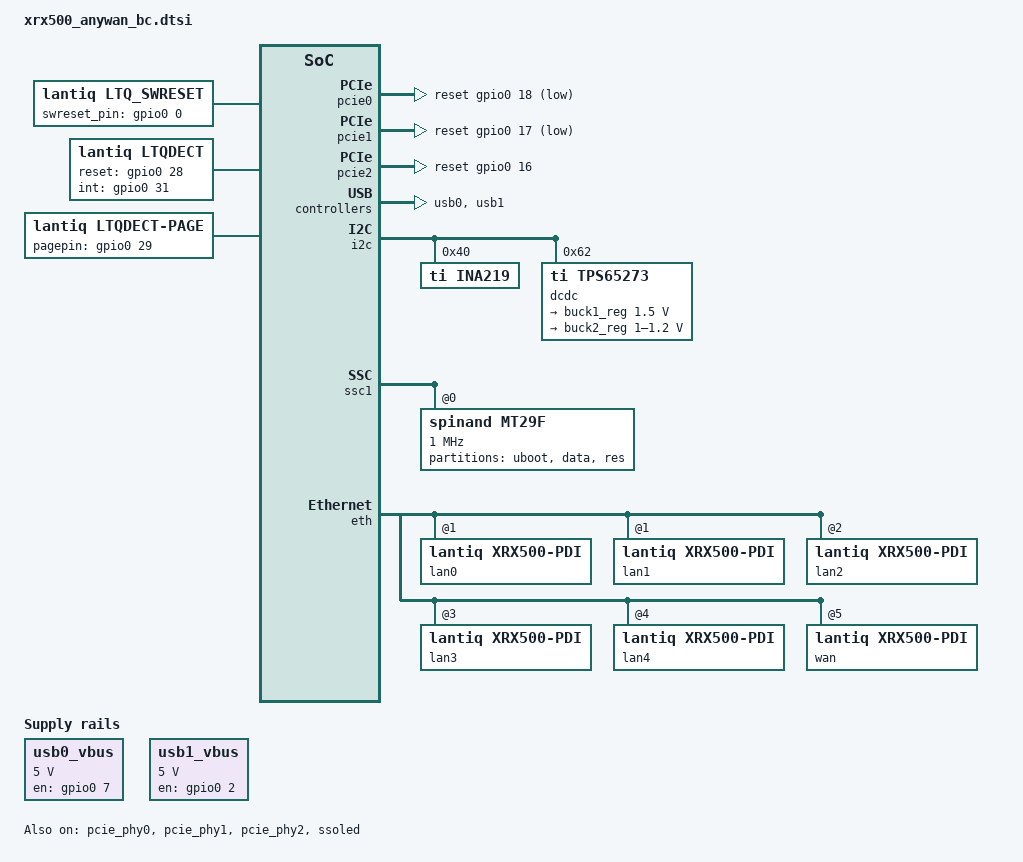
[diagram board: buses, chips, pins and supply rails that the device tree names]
#include <dt-bindings/gpio/gpio.h>
/******************************************************************************
** Board configuration: xRX500 ANYWAN Board
******************************************************************************/
/ {

/******************************************************************************
** Board configuration: Enable buttons on the board.  
******************************************************************************/
	ltq_swreset {
	      compatible = "lantiq,ltq_swreset";
	      swreset_pin = <&gpio0 0 0>;
	      swreset_bit = <1>;
	      status = "ok";
	};
/*****************************************************************************/
};

/******************************************************************************
** Board configuration: Enable dect SS.
******************************************************************************/
/ {
dect {
	compatible = "lantiq,ltqdect";
	lantiq,dect-cs= <0>; /*DECT chip select port Number; This is used by SSC interface*/
	gpio-reset = <&gpio0 28 0>;
	gpio-int = <&gpio0 31 0>; /*COSIC INT PIN connected to GPIO 31 */
	status = "ok";
	};

dect-page {
	compatible = "lantiq,ltqdect-page";
	lantiq,pagebit= <1>; /*DECT Page Bit: Bit info meant for DECT*/
	lantiq,pagepin= <&gpio0 29 0>; 
	status = "okay";
	};
};

/******************************************************************************
** Board configuration: Enable spi0 configuration.
******************************************************************************/

/******************************************************************************
** PCIe PHY board configuration
******************************************************************************/
&pcie_phy0 {
	status = "ok";
	intel,ssc_enable = <1>;
};

&pcie_phy1 {
	status = "ok";
	intel,ssc_enable = <1>;
};

&pcie_phy2 {
	status = "ok";
	intel,ssc_enable = <1>;
};

/******************************************************************************
** Board configuration: Enable PCIe board configuration.
** PCIE sub-system feature configuration, the pcie0/1/2 are defined in Soc level  
******************************************************************************/
&pcie0 {
	status = "okay";
	intel,rst-interval = <100>;
	intel,inbound-swap = <1>;
	intel,outbound-swap = <0>;
	reset-gpios = <&gpio0 18 GPIO_ACTIVE_LOW>;
};

&pcie1 {
	status = "okay";
	intel,rst-interval = <100>;
	intel,inbound-swap = <1>;
	intel,outbound-swap = <0>;
	reset-gpios = <&gpio0 17 GPIO_ACTIVE_LOW>;
};

&pcie2 {
	status = "okay";
	intel,rst-interval = <100>;
	intel,inbound-swap = <1>;
	intel,outbound-swap = <0>;
	reset-gpios = <&gpio0 16 GPIO_ACTIVE_HIGH>; /* High active reset */
};

/******************************************************************************
** Board configuration: Enable USB board configuration.  
******************************************************************************/
/ {
	usb0_vbus:regulator-vbus@0 {
		compatible = "regulator-fixed";
		regulator-name = "usb0_vbus";
		regulator-min-microvolt = <5000000>;
		regulator-max-microvolt = <5000000>;
		gpio = <&gpio0 7 0>;
		enable-active-high;
	};

	usb1_vbus:regulator-vbus@1 {
		compatible = "regulator-fixed";
		regulator-name = "usb1_vbus";
		regulator-min-microvolt = <5000000>;
		regulator-max-microvolt = <5000000>;
		gpio = <&gpio0 2 0>;
		enable-active-high;
	};
};

&usb0_phy {
	vbus-supply = <&usb0_vbus>;
};

&usb0 {
	status = "ok";
};

&usb1_phy {
        vbus-supply = <&usb1_vbus>;
};

&usb1 {
	status = "ok";
};

/******************************************************************************
 ** Board configuration: Enable pinctrl board configuration.
 ******************************************************************************/
&pinctrl {
	pinctrl_spi0_cs1: spi0_cs1 {
		intel,pins =  <15>; /* SPI0_CS1 */
		intel,function = "spi0_cs1";
		intel,mux = <EQBR_MUX_1>;
		intel,groups = "spi0_cs1";
	};

	pinctrl_spi1_cs0: spi1_cs0 {
		intel,pins =  <14>; /* SPI1_CS0 */
		intel,function = "spi1_cs0";
		intel,mux = <EQBR_MUX_2>;
		intel,groups = "spi1_cs0";
	};
};

/******************************************************************************
** Board configuration: Enable Shift register LED board configuration.  
******************************************************************************/

&ssogpio {
	status = "okay";
	intel,sso-update-rate = <250000>;
};

&ssoled {
	status = "okay";
	/* led definition */

	intel,sso-def-brightness = <0x80>;
	intel,sso-def-blinkrate = <4>; /* HZ*/
	/* blink rate list: 2, 4, 8, 10, 50K, 100K, 200K, 250K, 1000K */ 
	led0: led0 {
		label = "led0:green:gphy";
		led-gpio = <&ssogpio 0 0>;
		intel,led-pin = <0>;
		intel,sso-hw-trigger;
	};

	led1: led1 {
		label = "led1:green:gphy";
		led-gpio = <&ssogpio 1 0>;
		intel,led-pin = <1>;
		intel,sso-hw-trigger;
	};

	led2: led2 {
		label = "led2:green:gphy";
		led-gpio = <&ssogpio 2 0>;
		intel,led-pin = <2>;
		intel,sso-hw-trigger;
	};

	led3: led3 {
		label = "led3:green:gphy";
		led-gpio = <&ssogpio 3 0>;
		intel,led-pin = <3>;
		intel,sso-hw-trigger;
	};

	led4: led4 {
		label = "led4:green:gphy";
		led-gpio = <&ssogpio 4 0>;
		intel,led-pin = <4>;
		intel,sso-hw-trigger;
	};

	led5: led5 {
		label = "led5:green:dect";
		led-gpio = <&ssogpio 5 0>;
		intel,led-pin = <5>;
		intel,sso-brightness = <0x00>;
	};

	led6: led6 {
		label = "led6:green:wifi5g";
		led-gpio = <&ssogpio 6 0>;
		intel,led-pin = <6>;
		intel,sso-brightness = <0x00>;
	};

	led7: led7 {
		label = "led7:green:voip";
		led-gpio = <&ssogpio 7 0>;
		intel,led-pin = <7>;
		intel,sso-brightness = <0x00>;
	};

	led8: led8 {
		label = "led8:green:Broadband0";
		led-gpio = <&ssogpio 8 0>;
		intel,led-pin = <8>;
		intel,sso-brightness = <0x00>;
	};

	led9: led9 {
		label = "led9:green:lte";
		led-gpio = <&ssogpio 9 0>;
		intel,led-pin = <9>;
		intel,sso-brightness = <0x00>;
	};

	led10: led10 {
		label = "led10:green:wifi2g";
		led-gpio = <&ssogpio 10 0>;
		intel,led-pin = <10>;
		intel,sso-brightness = <0x00>;
	};

	led11: led11 {
		label = "led11:green:Internet";
		led-gpio = <&ssogpio 11 0>;
		intel,led-pin = <11>;
		intel,sso-brightness = <0x00>;
	};

	led12: led12 {
		label = "led12:green:Broadband1";
		led-gpio = <&ssogpio 12 0>;
		intel,led-pin = <12>;
		intel,sso-brightness = <0x00>;
	};

	led13: led13 {
		label = "board:red:power";
		led-gpio = <&ssogpio 13 0>;
		intel,led-pin = <13>;
		intel,sso-brightness = <0x00>;
	};

	led14: led14 {
		label = "board:blue:power";
		led-gpio = <&ssogpio 14 0>;
		intel,led-pin = <14>;
		intel,sso-brightness = <0x00>;
	};

	led15: led15 {
		label = "board:green:power";
		led-gpio = <&ssogpio 15 0>;
		intel,led-pin = <15>;
		linux,default-trigger = "timer";
		intel,sso-brightness = <255>;
	};
};

/******************************************************************************
** Board configuration: Enable CoC power managment board feature  
******************************************************************************/
&pinctrl_i2c0 {
			status="ok";
};

&cpu0 {
	cpu-supply = <&buck2_reg>;
};

&i2c {
	status = "ok";
	ina219: ina219@40 {
		compatible = "ti,ina219";
		reg = <0x40>;
		shunt-resistor = <10000>;
		config = <0x01FF>;
		calibration = <0x0EE5>;
		rail-name = "PWR_12V";
		};

	dcdc:tps65273@62 {
		status = "ok";
		compatible = "ti,tps65273";
		reg = <0x62>;

		regulators {
			buck1_reg: BUCK1 {
				regulator-name = "1V5VDD";
				regulator-always-on;
				regulator-boot-on;
				regulator-min-microvolt = <1500000>;
				regulator-max-microvolt = <1500000>;
				regulator-microvolt-offset = <0>;
				vout-slew-rate = <0>;
				vout-psm-mode  = <0>;
				vout-init-selector = <47>; /*0x2F - 1150000 uV*/
			};

			buck2_reg: BUCK2 {
				regulator-name = "1V15VDD";
				regulator-always-on;
				regulator-boot-on;
				regulator-min-microvolt = <1000000>;
				regulator-max-microvolt = <1200000>;
				regulator-microvolt-offset = <0>;
				vout-slew-rate = <0>; 
				vout-psm-mode  = <0>;
				vout-init-selector = <47>; /*0x2F - 1150000 uV*/
			};
		};
	};
};

/******************************************************************************
** Board configuration: Enable SSC1 to support standard SPI devices (SPI Flash)  
******************************************************************************/
&ssc1 {
		status="ok";
		mt29f@0 {
				#address-cells = <1>;
				#size-cells = <1>;
				reg = <0 1>;
				compatible = "spinand,mt29f";
				linux,modalias = "mt29f";
				spi-max-frequency = <1000000>;

				partition@0 {
					label = "uboot";
					reg = <0x000000 0x100000>;
				};

				partition@100000 {
					label = "data";
					reg = <0x100000 0x1000000>;
				};	
				
				partition@1100000 {
					label = "res";
					reg = <0x1100000 0x6E00000>;
				};
			};
};

/******************************************************************************
** Board configuration: Configure LAN/WAN interfaces  
******************************************************************************/
&eth {
	status = "ok";

	lan0: interface@0 {
		compatible = "lantiq,xrx500-pdi";
		#address-cells = <1>;
		#size-cells = <0>;
		reg = <1>;
		intel,dp-dev-port = <1>;
		intel,dp-port-id = <1>;

		ethernet@1 {
			compatible = "lantiq,xrx500-pdi-port";
			reg = <1>;
			phy-mode = "rgmii";
		};
	};

	lan1: interface@1 {
		compatible = "lantiq,xrx500-pdi";
		#address-cells = <1>;
		#size-cells = <0>;
		reg = <1>;
		intel,dp-dev-port = <2>;
		intel,dp-port-id = <2>;

		ethernet@1 {
			compatible = "lantiq,xrx500-pdi-port";
			reg = <2>;
			interrupt-parent = <&gic>;
			interrupts = <0 112 4>;
			phy-mode = "rgmii";
			phy-handle = <&phy2>;
		};
	};

	lan2: interface@2 {
		compatible = "lantiq,xrx500-pdi";
		#address-cells = <1>;
		#size-cells = <0>;
		reg = <2>;
		intel,dp-dev-port = <3>;
		intel,dp-port-id = <3>;

		ethernet@2 {
			compatible = "lantiq,xrx500-pdi-port";
			reg = <3>;
			interrupt-parent = <&gic>;
			interrupts = <0 113 4>;
			phy-mode = "rgmii";
			phy-handle = <&phy3>;
		};
	};

	lan3: interface@3 {
		compatible = "lantiq,xrx500-pdi";
		#address-cells = <1>;
		#size-cells = <0>;
		reg = <3>;
		intel,dp-dev-port = <4>;
		intel,dp-port-id = <4>;

		ethernet@3 {
			compatible = "lantiq,xrx500-pdi-port";
			reg = <4>;
			interrupt-parent = <&gic>;
			interrupts = <0 126 4>;
			phy-mode = "rgmii";
			phy-handle = <&phy4>;
		};
	};

	lan4: interface@4 {
		compatible = "lantiq,xrx500-pdi";
		#address-cells = <1>;
		#size-cells = <0>;
		reg = <4>;
		intel,dp-dev-port = <5>;
		intel,dp-port-id = <5>;

		ethernet@4 {
			compatible = "lantiq,xrx500-pdi-port";
			reg = <5>;
			interrupt-parent = <&gic>;
			interrupts = <0 127 4>;
			phy-mode = "rgmii";
			phy-handle = <&phy5>;
		};
	};

	wan: interface@5 {
		compatible = "lantiq,xrx500-pdi";
		#address-cells = <1>;
		#size-cells = <0>;
		reg = <5>;
		lantiq,wan = <1>;
		intel,dp-dev-port = <15>;
		intel,dp-port-id = <15>;

		ethernet@5 {
			compatible = "lantiq,xrx500-pdi-port";
			reg = <1>;
			interrupt-parent = <&gic>;
			interrupts = <0 111 4>;
			phy-mode = "rgmii";
			phy-handle = <&phy1>;
		};
	};
};

